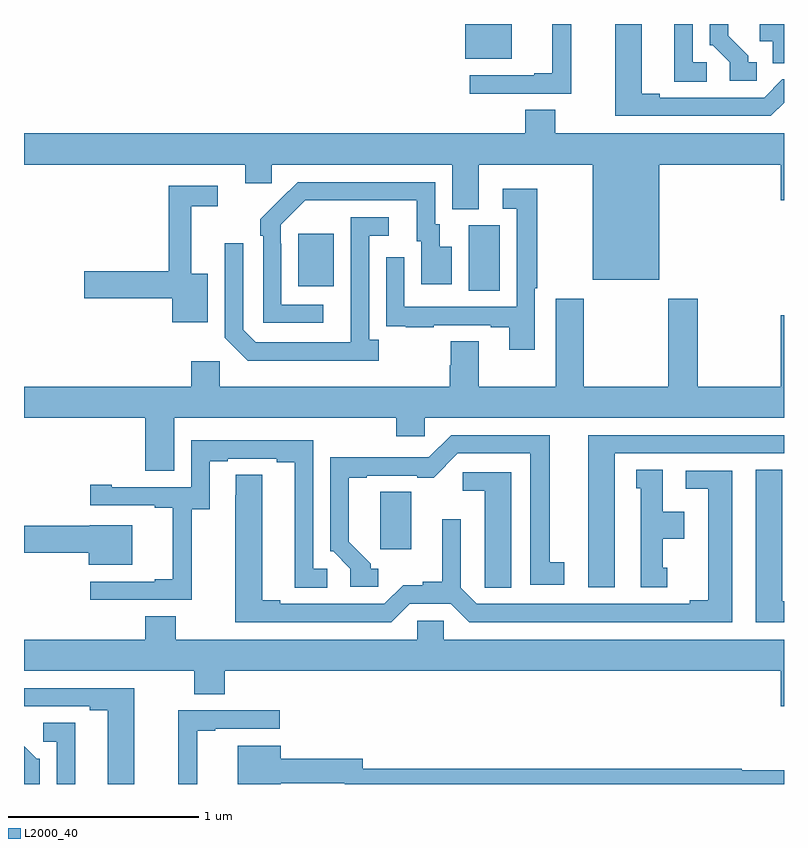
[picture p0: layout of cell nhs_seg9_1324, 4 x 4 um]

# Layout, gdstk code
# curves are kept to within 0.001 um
import gdstk
lib = gdstk.Library(unit=1e-6, precision=1e-09)
def R(c, l, rs):  # rectangles x0, y0, x1, y1
    for r in rs: c.add(gdstk.rectangle(r[:2], r[2:], *l))
def P(c, l, *ps):  # polygons
    for p in ps: c.add(gdstk.Polygon(p, *l))
L2000_40 = (2000, 40)

nhs_seg9_1324 = lib.new_cell('nhs_seg9_1324')
R(nhs_seg9_1324, L2000_40, [(187.34,1189.096,187.504,1189.44), (186.443,1189.121,186.631,1189.396), (187.322,1190.318,187.567,1190.5)])
P(nhs_seg9_1324, L2000_40, [(189,1190.5),(188.873,1190.5),(188.873,1190.408),(188.942,1190.408),(188.942,1190.293),(189,1190.293)],
  [(189,1190.085),(189,1190.208),(188.991,1190.208),(188.895,1190.112),(188.347,1190.112),(188.347,1190.132),(188.251,1190.132),(188.251,1190.5),(188.111,1190.5),(188.111,1190.016),(188.931,1190.016)],
  [(188.593,1190.298),(188.52,1190.298),(188.52,1190.5),(188.423,1190.5),(188.423,1190.197),(188.593,1190.197)],
  [(187.881,1190.5),(187.781,1190.5),(187.781,1190.242),(187.685,1190.242),(187.685,1190.229),(187.347,1190.229),(187.347,1190.133),(187.881,1190.133)],
  [(188.857,1190.298),(188.812,1190.298),(188.812,1190.333),(188.707,1190.438),(188.707,1190.5),(188.61,1190.5),(188.61,1190.388),(188.625,1190.388),(188.715,1190.298),(188.715,1190.202),(188.857,1190.202)],
  [(188.344,1189.76),(188.984,1189.76),(188.984,1189.572),(189,1189.572),(189,1189.924),(187.797,1189.924),(187.797,1190.048),(187.637,1190.048),(187.637,1189.924),(185,1189.924),(185,1189.76),(186.164,1189.76),(186.164,1189.662),(186.303,1189.662),(186.303,1189.76),(187.253,1189.76),(187.253,1189.525),(187.393,1189.525),(187.393,1189.76),(187.994,1189.76),(187.994,1189.154),(188.344,1189.154)],
  [(186.574,1189.023),(186.354,1189.023),(186.354,1189.343),(186.351,1189.343),(186.351,1189.443),(186.48,1189.572),(187.067,1189.572),(187.067,1189.356),(187.091,1189.356),(187.091,1189.131),(187.252,1189.131),(187.252,1189.327),(187.189,1189.327),(187.189,1189.446),(187.164,1189.446),(187.164,1189.668),(186.44,1189.668),(186.243,1189.473),(186.243,1189.385),(186.258,1189.385),(186.258,1188.927),(186.574,1188.927)],
  [(185.968,1189.186),(185.879,1189.186),(185.879,1189.542),(186.019,1189.542),(186.019,1189.65),(185.761,1189.65),(185.761,1189.199),(185.316,1189.199),(185.316,1189.057),(185.78,1189.057),(185.78,1188.929),(185.968,1188.929)],
  [(187.689,1189.108),(187.702,1189.108),(187.702,1189.633),(187.521,1189.633),(187.521,1189.527),(187.593,1189.527),(187.593,1189.011),(187.002,1189.011),(187.002,1189.273),(186.906,1189.273),(186.906,1189.018),(186.907,1189.018),(186.907,1188.909),(187.009,1188.909),(187.009,1188.903),(187.157,1188.903),(187.157,1188.915),(187.457,1188.915),(187.457,1188.903),(187.553,1188.903),(187.553,1188.786),(187.689,1188.786)],
  [(186.868,1188.838),(186.816,1188.838),(186.816,1189.386),(186.919,1189.386),(186.919,1189.482),(186.72,1189.482),(186.719,1188.825),(186.219,1188.825),(186.153,1188.891),(186.153,1189.345),(186.057,1189.345),(186.057,1188.849),(186.178,1188.728),(186.868,1188.728)],
  [(185.791,1188.428),(186.959,1188.428),(186.959,1188.33),(187.11,1188.33),(187.11,1188.428),(189,1188.428),(189,1188.967),(188.984,1188.967),(188.984,1188.592),(188.547,1188.592),(188.547,1189.054),(188.392,1189.054),(188.392,1188.592),(187.947,1188.592),(187.947,1189.054),(187.799,1189.054),(187.799,1188.592),(187.393,1188.592),(187.393,1188.83),(187.246,1188.83),(187.246,1188.705),(187.241,1188.705),(187.241,1188.592),(186.03,1188.592),(186.03,1188.724),(185.879,1188.724),(185.879,1188.592),(185,1188.592),(185,1188.428),(185.639,1188.428),(185.639,1188.148),(185.791,1188.148)],
  [(188.11,1188.24),(189,1188.24),(189,1188.336),(187.97,1188.336),(187.97,1187.535),(188.11,1187.535)],
  [(186.865,1187.634),(186.826,1187.634),(186.826,1187.658),(186.709,1187.774),(186.709,1188.111),(186.805,1188.111),(186.805,1188.123),(187.07,1188.123),(187.07,1188.112),(187.156,1188.112),(187.284,1188.24),(187.664,1188.24),(187.664,1187.55),(187.843,1187.55),(187.843,1187.666),(187.768,1187.666),(187.768,1188.336),(187.248,1188.336),(187.131,1188.219),(186.875,1188.219),(186.875,1188.221),(186.612,1188.221),(186.612,1187.724),(186.627,1187.724),(186.717,1187.634),(186.717,1187.538),(186.865,1187.538)],
  [(185.883,1187.947),(185.977,1187.947),(185.977,1188.198),(186.073,1188.198),(186.073,1188.213),(186.329,1188.213),(186.329,1188.193),(186.425,1188.193),(186.425,1187.533),(186.595,1187.533),(186.595,1187.634),(186.522,1187.634),(186.522,1188.309),(185.88,1188.309),(185.88,1188.063),(185.461,1188.063),(185.461,1188.076),(185.349,1188.076),(185.349,1187.967),(185.687,1187.967),(185.687,1187.955),(185.783,1187.955),(185.783,1187.578),(185.687,1187.578),(185.687,1187.565),(185.349,1187.565),(185.349,1187.469),(185.883,1187.469)],
  [(188.386,1187.637),(188.362,1187.637),(188.362,1187.792),(188.476,1187.792),(188.476,1187.932),(188.362,1187.932),(188.362,1188.155),(188.222,1188.155),(188.222,1188.057),(188.246,1188.057),(188.246,1187.535),(188.386,1187.535)],
  [(189,1187.463),(188.992,1187.463),(188.992,1188.155),(188.852,1188.155),(188.852,1187.352),(189,1187.352)],
  [(187.029,1187.448),(187.247,1187.448),(187.343,1187.352),(188.728,1187.352),(188.728,1188.15),(188.484,1188.15),(188.484,1188.054),(188.6,1188.054),(188.6,1187.468),(188.504,1187.468),(188.504,1187.448),(187.383,1187.448),(187.299,1187.532),(187.299,1187.893),(187.202,1187.893),(187.202,1187.564),(187.098,1187.564),(187.098,1187.546),(186.995,1187.546),(186.897,1187.448),(186.349,1187.448),(186.349,1187.468),(186.253,1187.468),(186.253,1188.128),(186.114,1188.128),(186.113,1187.352),(186.933,1187.352)],
  [(187.564,1188.141),(187.308,1188.141),(187.308,1188.044),(187.424,1188.044),(187.424,1187.641),(187.425,1187.641),(187.425,1187.533),(187.564,1187.533)],
  [(187.039,1187.88),(187.038,1187.88),(187.038,1188.038),(186.875,1188.038),(186.875,1187.736),(187.039,1187.736)],
  [(185.569,1187.863),(185.346,1187.863),(185.346,1187.858),(185,1187.858),(185,1187.716),(185.342,1187.716),(185.342,1187.654),(185.569,1187.654)],
  [(189,1187.26),(187.209,1187.26),(187.209,1187.358),(187.071,1187.358),(187.071,1187.26),(185.799,1187.26),(185.799,1187.384),(185.639,1187.384),(185.639,1187.26),(185,1187.26),(185,1187.096),(185.896,1187.096),(185.896,1186.972),(186.056,1186.972),(186.056,1187.096),(188.984,1187.096),(188.984,1186.908),(189,1186.908)],
  [(185.581,1187.004),(185,1187.004),(185,1186.908),(185.345,1186.908),(185.345,1186.888),(185.441,1186.888),(185.441,1186.5),(185.581,1186.5)],
  [(185.912,1186.779),(186.007,1186.779),(186.007,1186.791),(186.346,1186.791),(186.346,1186.887),(185.812,1186.887),(185.812,1186.5),(185.912,1186.5)],
  [(185.269,1186.823),(185.1,1186.823),(185.1,1186.722),(185.172,1186.722),(185.172,1186.5),(185.269,1186.5)],
  [(186.352,1186.504),(186.687,1186.504),(186.687,1186.5),(189,1186.5),(189,1186.573),(188.778,1186.573),(188.778,1186.58),(186.783,1186.58),(186.783,1186.633),(186.352,1186.633),(186.352,1186.702),(186.125,1186.702),(186.125,1186.5),(186.352,1186.5)],
  [(185.082,1186.632),(185.067,1186.632),(185,1186.699),(185,1186.5),(185.082,1186.5)])

lib.write_gds('nhs_seg9_1324.gds')
